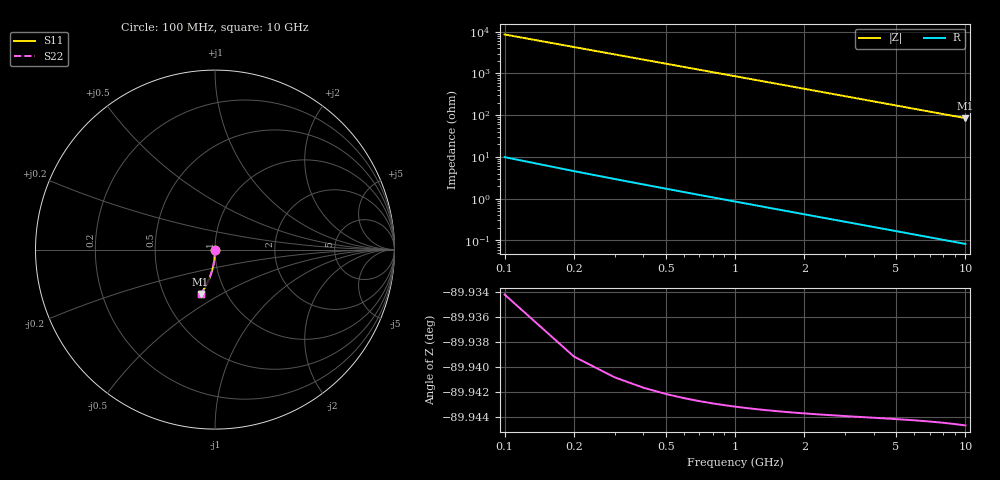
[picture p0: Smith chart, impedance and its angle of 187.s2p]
# Hz S RI R 50.00
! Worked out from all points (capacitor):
!   100 points, 100 MHz to 10 GHz, reference 50 ohm
!   read as one part in shunt: C = 185 fF near 100 MHz
!   lowest |Z| = 85.1 ohm at 10 GHz (marker M1)
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1e8  3.86e-05 -0.00267  0.9999 -0.00314  0.9999 -0.00314  3.86e-05 -0.00267
2e8  1.1e-05 -0.00534  0.9999 -0.00628  0.9999 -0.00628  1.1e-05 -0.00534
3e8  -3.35e-05 -0.008  0.9999 -0.00942  0.9999 -0.00942  -3.35e-05 -0.008
4e8  -9.47e-05 -0.0107  0.9998 -0.0126  0.9998 -0.0126  -9.47e-05 -0.0107
5e8  -0.000173 -0.0133  0.9997 -0.0157  0.9997 -0.0157  -0.000173 -0.0133
6e8  -0.000268 -0.016  0.9996 -0.0188  0.9996 -0.0188  -0.000268 -0.016
7e8  -0.000379 -0.0187  0.9995 -0.022  0.9995 -0.022  -0.000379 -0.0187
8e8  -0.000508 -0.0213  0.9994 -0.0251  0.9994 -0.0251  -0.000508 -0.0213
9e8  -0.000653 -0.024  0.9992 -0.0283  0.9992 -0.0283  -0.000653 -0.024
1.1e9  -0.000994 -0.0293  0.9989 -0.0345  0.9989 -0.0345  -0.000994 -0.0293
1.4e9  -0.00163 -0.0373  0.9982 -0.0439  0.9982 -0.0439  -0.00163 -0.0373
1.8e9  -0.00272 -0.048  0.9971 -0.0565  0.9971 -0.0565  -0.00272 -0.048
2.1e9  -0.00371 -0.0559  0.9961 -0.0659  0.9961 -0.0659  -0.00371 -0.0559
2.5e9  -0.00526 -0.0665  0.9946 -0.0784  0.9946 -0.0784  -0.00526 -0.0665
2.9e9  -0.00708 -0.0771  0.9927 -0.0908  0.9927 -0.0908  -0.00708 -0.0771
3.4e9  -0.00973 -0.0902  0.99 -0.1063  0.99 -0.1063  -0.00973 -0.0902
4.2e9  -0.0148 -0.111  0.9849 -0.1309  0.9849 -0.1309  -0.0148 -0.111
5.1e9  -0.0218 -0.134  0.9778 -0.1582  0.9778 -0.1582  -0.0218 -0.134
5.9e9  -0.029 -0.154  0.9705 -0.1821  0.9705 -0.1821  -0.029 -0.154
6.7e9  -0.0372 -0.1735  0.9622 -0.2055  0.9622 -0.2055  -0.0372 -0.1735
8.4e9  -0.0576 -0.2131  0.9415 -0.2535  0.9415 -0.2535  -0.0576 -0.2131
1e10  -0.08 -0.2477  0.9187 -0.296  0.9187 -0.296  -0.08 -0.2477
